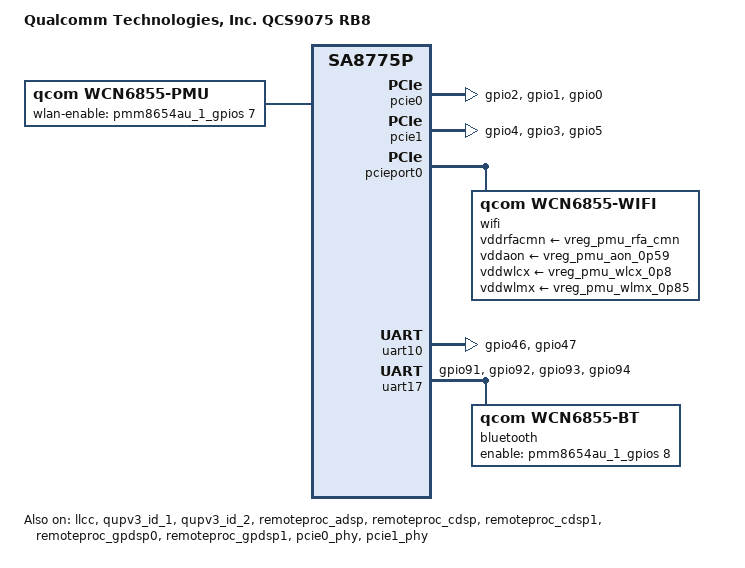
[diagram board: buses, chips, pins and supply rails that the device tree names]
// SPDX-License-Identifier: BSD-3-Clause
/*
 * Copyright (c) 2024, Qualcomm Innovation Center, Inc. All rights reserved.
 */
/dts-v1/;

#include <dt-bindings/gpio/gpio.h>
#include <dt-bindings/regulator/qcom,rpmh-regulator.h>

#include "sa8775p.dtsi"
#include "sa8775p-pmics.dtsi"
#include "qcs9075-thermal.dtsi"

/ {
	model = "Qualcomm Technologies, Inc. QCS9075 RB8";
	compatible = "qcom,qcs9075-rb8", "qcom,qcs9075", "qcom,sa8775p";
	qcom,msm-id = <676 0x20000>;
	qcom,board-id = <0x10020 0>, <0x10019 0>;

	aliases {
		serial0 = &uart10;
		serial1 = &uart17;
	};

	chosen {
		stdout-path = "serial0:115200n8";
	};

	wcn6855-pmu {
		compatible = "qcom,wcn6855-pmu";

		pinctrl-names = "default";
		pinctrl-0 = <&wlan_en_state>;
		wlan-enable-gpios = <&pmm8654au_1_gpios 7 GPIO_ACTIVE_HIGH>;

		regulators {
			vreg_pmu_rfa_cmn: ldo0 {
				regulator-name = "vreg_pmu_rfa_cmn";
			};

			vreg_pmu_aon_0p59: ldo1 {
				regulator-name = "vreg_pmu_aon_0p59";
			};

			vreg_pmu_wlcx_0p8: ldo2 {
				regulator-name = "vreg_pmu_wlcx_0p8";
			};

			vreg_pmu_wlmx_0p85: ldo3 {
				regulator-name = "vreg_pmu_wlmx_0p85";
			};

			vreg_pmu_btcmx_0p85: ldo4 {
				regulator-name = "vreg_pmu_btcmx_0p85";
			};

			vreg_pmu_rfa_0p8: ldo5 {
				regulator-name = "vreg_pmu_rfa_0p8";
			};

			vreg_pmu_rfa_1p2: ldo6 {
				regulator-name = "vreg_pmu_rfa_1p2";
			};

			vreg_pmu_rfa_1p7: ldo7 {
				regulator-name = "vreg_pmu_rfa_1p7";
			};

			vreg_pmu_pcie_0p9: ldo8 {
				regulator-name = "vreg_pmu_pcie_0p9";
			};

			vreg_pmu_pcie_1p8: ldo9 {
				regulator-name = "vreg_pmu_pcie_1p8";
			};
		};
	};
};

&apps_rsc {
	regulators-0 {
		compatible = "qcom,pmm8654au-rpmh-regulators";
		qcom,pmic-id = "a";

		vreg_s4a: smps4 {
			regulator-name = "vreg_s4a";
			regulator-min-microvolt = <1800000>;
			regulator-max-microvolt = <1816000>;
			regulator-initial-mode = <RPMH_REGULATOR_MODE_HPM>;
		};

		vreg_s5a: smps5 {
			regulator-name = "vreg_s5a";
			regulator-min-microvolt = <1850000>;
			regulator-max-microvolt = <1996000>;
			regulator-initial-mode = <RPMH_REGULATOR_MODE_HPM>;
		};

		vreg_s9a: smps9 {
			regulator-name = "vreg_s9a";
			regulator-min-microvolt = <535000>;
			regulator-max-microvolt = <1120000>;
			regulator-initial-mode = <RPMH_REGULATOR_MODE_HPM>;
		};

		vreg_l4a: ldo4 {
			regulator-name = "vreg_l4a";
			regulator-min-microvolt = <788000>;
			regulator-max-microvolt = <1050000>;
			regulator-initial-mode = <RPMH_REGULATOR_MODE_HPM>;
			regulator-allow-set-load;
			regulator-allowed-modes = <RPMH_REGULATOR_MODE_LPM
						   RPMH_REGULATOR_MODE_HPM>;
		};

		vreg_l5a: ldo5 {
			regulator-name = "vreg_l5a";
			regulator-min-microvolt = <870000>;
			regulator-max-microvolt = <950000>;
			regulator-initial-mode = <RPMH_REGULATOR_MODE_HPM>;
			regulator-allow-set-load;
			regulator-allowed-modes = <RPMH_REGULATOR_MODE_LPM
						   RPMH_REGULATOR_MODE_HPM>;
		};

		vreg_l6a: ldo6 {
			regulator-name = "vreg_l6a";
			regulator-min-microvolt = <870000>;
			regulator-max-microvolt = <970000>;
			regulator-initial-mode = <RPMH_REGULATOR_MODE_HPM>;
			regulator-allow-set-load;
			regulator-allowed-modes = <RPMH_REGULATOR_MODE_LPM
						   RPMH_REGULATOR_MODE_HPM>;
		};

		vreg_l7a: ldo7 {
			regulator-name = "vreg_l7a";
			regulator-min-microvolt = <720000>;
			regulator-max-microvolt = <950000>;
			regulator-initial-mode = <RPMH_REGULATOR_MODE_HPM>;
			regulator-allow-set-load;
			regulator-allowed-modes = <RPMH_REGULATOR_MODE_LPM
						   RPMH_REGULATOR_MODE_HPM>;
		};

		vreg_l8a: ldo8 {
			regulator-name = "vreg_l8a";
			regulator-min-microvolt = <2504000>;
			regulator-max-microvolt = <3300000>;
			regulator-initial-mode = <RPMH_REGULATOR_MODE_HPM>;
			regulator-allow-set-load;
			regulator-allowed-modes = <RPMH_REGULATOR_MODE_LPM
						   RPMH_REGULATOR_MODE_HPM>;
		};

		vreg_l9a: ldo9 {
			regulator-name = "vreg_l9a";
			regulator-min-microvolt = <2970000>;
			regulator-max-microvolt = <3544000>;
			regulator-initial-mode = <RPMH_REGULATOR_MODE_HPM>;
			regulator-allow-set-load;
			regulator-allowed-modes = <RPMH_REGULATOR_MODE_LPM
						   RPMH_REGULATOR_MODE_HPM>;
		};
	};

	regulators-1 {
		compatible = "qcom,pmm8654au-rpmh-regulators";
		qcom,pmic-id = "c";

		vreg_l1c: ldo1 {
			regulator-name = "vreg_l1c";
			regulator-min-microvolt = <1140000>;
			regulator-max-microvolt = <1260000>;
			regulator-initial-mode = <RPMH_REGULATOR_MODE_HPM>;
			regulator-allow-set-load;
			regulator-allowed-modes = <RPMH_REGULATOR_MODE_LPM
						   RPMH_REGULATOR_MODE_HPM>;
		};

		vreg_l2c: ldo2 {
			regulator-name = "vreg_l2c";
			regulator-min-microvolt = <900000>;
			regulator-max-microvolt = <1100000>;
			regulator-initial-mode = <RPMH_REGULATOR_MODE_HPM>;
			regulator-allow-set-load;
			regulator-allowed-modes = <RPMH_REGULATOR_MODE_LPM
						   RPMH_REGULATOR_MODE_HPM>;
		};

		vreg_l3c: ldo3 {
			regulator-name = "vreg_l3c";
			regulator-min-microvolt = <1100000>;
			regulator-max-microvolt = <1300000>;
			regulator-initial-mode = <RPMH_REGULATOR_MODE_HPM>;
			regulator-allow-set-load;
			regulator-allowed-modes = <RPMH_REGULATOR_MODE_LPM
						   RPMH_REGULATOR_MODE_HPM>;
		};

		vreg_l4c: ldo4 {
			regulator-name = "vreg_l4c";
			regulator-min-microvolt = <1200000>;
			regulator-max-microvolt = <1200000>;
			regulator-initial-mode = <RPMH_REGULATOR_MODE_HPM>;
			/*
			 * FIXME: This should have regulator-allow-set-load but
			 * we're getting an over-current fault from the PMIC
			 * when switching to LPM.
			 */
		};

		vreg_l5c: ldo5 {
			regulator-name = "vreg_l5c";
			regulator-min-microvolt = <1100000>;
			regulator-max-microvolt = <1300000>;
			regulator-initial-mode = <RPMH_REGULATOR_MODE_HPM>;
			regulator-allow-set-load;
			regulator-allowed-modes = <RPMH_REGULATOR_MODE_LPM
						   RPMH_REGULATOR_MODE_HPM>;
		};

		vreg_l6c: ldo6 {
			regulator-name = "vreg_l6c";
			regulator-min-microvolt = <1620000>;
			regulator-max-microvolt = <1980000>;
			regulator-initial-mode = <RPMH_REGULATOR_MODE_HPM>;
			regulator-allow-set-load;
			regulator-allowed-modes = <RPMH_REGULATOR_MODE_LPM
						   RPMH_REGULATOR_MODE_HPM>;
		};

		vreg_l7c: ldo7 {
			regulator-name = "vreg_l7c";
			regulator-min-microvolt = <1620000>;
			regulator-max-microvolt = <2000000>;
			regulator-initial-mode = <RPMH_REGULATOR_MODE_HPM>;
			regulator-allow-set-load;
			regulator-allowed-modes = <RPMH_REGULATOR_MODE_LPM
						   RPMH_REGULATOR_MODE_HPM>;
		};

		vreg_l8c: ldo8 {
			regulator-name = "vreg_l8c";
			regulator-min-microvolt = <2400000>;
			regulator-max-microvolt = <3300000>;
			regulator-initial-mode = <RPMH_REGULATOR_MODE_HPM>;
			regulator-allow-set-load;
			regulator-allowed-modes = <RPMH_REGULATOR_MODE_LPM
						   RPMH_REGULATOR_MODE_HPM>;
		};

		vreg_l9c: ldo9 {
			regulator-name = "vreg_l9c";
			regulator-min-microvolt = <1650000>;
			regulator-max-microvolt = <2700000>;
			regulator-initial-mode = <RPMH_REGULATOR_MODE_HPM>;
			regulator-allow-set-load;
			regulator-allowed-modes = <RPMH_REGULATOR_MODE_LPM
						   RPMH_REGULATOR_MODE_HPM>;
		};
	};

	regulators-2 {
		compatible = "qcom,pmm8654au-rpmh-regulators";
		qcom,pmic-id = "e";

		vreg_s4e: smps4 {
			regulator-name = "vreg_s4e";
			regulator-min-microvolt = <970000>;
			regulator-max-microvolt = <1520000>;
			regulator-initial-mode = <RPMH_REGULATOR_MODE_HPM>;
		};

		vreg_s7e: smps7 {
			regulator-name = "vreg_s7e";
			regulator-min-microvolt = <1010000>;
			regulator-max-microvolt = <1170000>;
			regulator-initial-mode = <RPMH_REGULATOR_MODE_HPM>;
		};

		vreg_s9e: smps9 {
			regulator-name = "vreg_s9e";
			regulator-min-microvolt = <300000>;
			regulator-max-microvolt = <570000>;
			regulator-initial-mode = <RPMH_REGULATOR_MODE_HPM>;
		};

		vreg_l6e: ldo6 {
			regulator-name = "vreg_l6e";
			regulator-min-microvolt = <1280000>;
			regulator-max-microvolt = <1450000>;
			regulator-initial-mode = <RPMH_REGULATOR_MODE_HPM>;
			regulator-allow-set-load;
			regulator-allowed-modes = <RPMH_REGULATOR_MODE_LPM
						   RPMH_REGULATOR_MODE_HPM>;
		};

		vreg_l8e: ldo8 {
			regulator-name = "vreg_l8e";
			regulator-min-microvolt = <1800000>;
			regulator-max-microvolt = <1950000>;
			regulator-initial-mode = <RPMH_REGULATOR_MODE_HPM>;
			regulator-allow-set-load;
			regulator-allowed-modes = <RPMH_REGULATOR_MODE_LPM
						   RPMH_REGULATOR_MODE_HPM>;
		};
	};
};

&i2c0 {
	qcom,load-firmware;
	qcom,xfer-mode = <1>;
};

&i2c1 {
	qcom,load-firmware;
	qcom,xfer-mode = <1>;
};

&i2c2 {
	qcom,load-firmware;
	qcom,xfer-mode = <1>;
};

&i2c3 {
	qcom,load-firmware;
	qcom,xfer-mode = <1>;
};

&i2c4 {
	qcom,load-firmware;
	qcom,xfer-mode = <1>;
};

&i2c5 {
	qcom,load-firmware;
	qcom,xfer-mode = <1>;
};

&i2c7 {
	qcom,load-firmware;
	qcom,xfer-mode = <1>;
};

&i2c8 {
	qcom,load-firmware;
	qcom,xfer-mode = <1>;
};

&i2c9 {
	qcom,load-firmware;
	qcom,xfer-mode = <1>;
};

&i2c10 {
	qcom,load-firmware;
	qcom,xfer-mode = <1>;
};

&i2c11 {
	qcom,load-firmware;
	qcom,xfer-mode = <1>;
};

&i2c12 {
	qcom,load-firmware;
	qcom,xfer-mode = <1>;
};

&i2c13 {
	qcom,load-firmware;
	qcom,xfer-mode = <1>;
};

&i2c14 {
	qcom,load-firmware;
	qcom,xfer-mode = <1>;
};

&i2c15 {
	qcom,load-firmware;
	qcom,xfer-mode = <1>;
};

&i2c16 {
	qcom,load-firmware;
	qcom,xfer-mode = <1>;
};

&i2c17 {
	qcom,load-firmware;
	qcom,xfer-mode = <1>;
};

&i2c18 {
	qcom,load-firmware;
	qcom,xfer-mode = <1>;
};

&i2c19 {
	qcom,load-firmware;
	qcom,xfer-mode = <1>;
};

&llcc {
	status = "okay";
};

&pmm8654au_1_gpios {
	gpio-line-names = "PMIC_C_ID0",
			  "PMIC_C_ID1",
			  "UFS1_VER_ID",
			  "IPA_PWR",
			  "",
			  "WLAN_DBU4_EN",
			  "WLAN_EN",
			  "BT_EN",
			  "USB2_PWR_EN",
			  "USB2_FAULT";

	bt_en_state: bt-en-state {
		pins = "gpio8";
		function = "normal";
		output-low;
		bias-pull-down;
	};

	wlan_en_state: wlan-en-state {
		pins = "gpio7";
		function = "normal";
		output-low;
		bias-pull-down;
	};
};

&qupv3_id_1 {
	status = "okay";
};

&qupv3_id_2 {
	status = "okay";
};

&remoteproc_adsp {
	firmware-name = "qcom/sa8775p/adsp.mbn";
	status = "okay";
};

&remoteproc_cdsp {
	firmware-name = "qcom/sa8775p/cdsp0.mbn";
	status = "okay";
};

&remoteproc_cdsp1 {
	firmware-name = "qcom/sa8775p/cdsp1.mbn";
	status = "okay";
};

&remoteproc_gpdsp0 {
	firmware-name = "qcom/sa8775p/gpdsp0.mbn";
	status = "okay";
};

&remoteproc_gpdsp1 {
	firmware-name = "qcom/sa8775p/gpdsp1.mbn";
	status = "okay";
};

&sleep_clk {
	clock-frequency = <32768>;
};

&spi0 {
	qcom,load-firmware;
	qcom,xfer-mode = <1>;
};

&spi1 {
	qcom,load-firmware;
	qcom,xfer-mode = <1>;
};

&spi2 {
	qcom,load-firmware;
	qcom,xfer-mode = <1>;
};

&spi3 {
	qcom,load-firmware;
	qcom,xfer-mode = <1>;
};

&spi4 {
	qcom,load-firmware;
	qcom,xfer-mode = <1>;
};

&spi5 {
	qcom,load-firmware;
	qcom,xfer-mode = <1>;
};

&spi7 {
	qcom,load-firmware;
	qcom,xfer-mode = <1>;
};

&spi8 {
	qcom,load-firmware;
	qcom,xfer-mode = <1>;
};

&spi9 {
	qcom,load-firmware;
	qcom,xfer-mode = <1>;
};

&spi10 {
	qcom,load-firmware;
	qcom,xfer-mode = <1>;
};

&spi11 {
	qcom,load-firmware;
	qcom,xfer-mode = <1>;
};

&spi12 {
	qcom,load-firmware;
	qcom,xfer-mode = <1>;
};

&spi14 {
	qcom,load-firmware;
	qcom,xfer-mode = <1>;
};

&spi15 {
	qcom,load-firmware;
	qcom,xfer-mode = <1>;
};

&spi16 {
	qcom,load-firmware;
	qcom,xfer-mode = <1>;
};

&spi17 {
	qcom,load-firmware;
	qcom,xfer-mode = <1>;
};

&spi18 {
	qcom,load-firmware;
	qcom,xfer-mode = <1>;
};

&spi19 {
	qcom,load-firmware;
	qcom,xfer-mode = <1>;
};

&tlmm {
	bt_bootstrap_default: bt_bootstrap_default {
		pins = "gpio147";
		function = "gpio";
		input-enable;
		bias-pull-up;
		drive-strength = <2>;
	};

	/* FIXME: mdss0_dp0 is dependent on this so adding a dummy node for now */
	dp_hot_plug_det: dp-hot-plug-det-state {};

	/* FIXME: mdss0_dp1 is dependent on this so adding a dummy node for now */
	dp1_hot_plug_det: dp1-hot-plug-det-state {};

	qup_uart10_default: qup-uart10-state {
		pins = "gpio46", "gpio47";
		function = "qup1_se3";
	};

	qup_uart17_default: qup-uart17-state {
		qup_uart17_cts: qup-uart17-cts-pins {
			pins = "gpio91";
			function = "qup2_se3";
			bias-disable;
		};

		qup_uart17_rts: qup0-uart17-rts-pins {
			pins = "gpio92";
			function = "qup2_se3";
			bias-pull-down;
		};

		qup_uart17_tx: qup0-uart17-tx-pins {
			pins = "gpio93";
			function = "qup2_se3";
			bias-pull-up;
		};

		qup_uart17_rx: qup0-uart17-rx-pins {
			pins = "gpio94";
			function = "qup2_se3";
			bias-pull-down;
		};
	};

	pcie0_default_state: pcie0-default-state {
		perst-pins {
			pins = "gpio2";
			function = "gpio";
			drive-strength = <2>;
			bias-pull-down;
		};

		clkreq-pins {
			pins = "gpio1";
			function = "pcie0_clkreq";
			drive-strength = <2>;
			bias-pull-up;
		};

		wake-pins {
			pins = "gpio0";
			function = "gpio";
			drive-strength = <2>;
			bias-pull-up;
		};
	};

	pcie1_default_state: pcie1-default-state {
		perst-pins {
			pins = "gpio4";
			function = "gpio";
			drive-strength = <2>;
			bias-pull-down;
		};

		clkreq-pins {
			pins = "gpio3";
			function = "pcie1_clkreq";
			drive-strength = <2>;
			bias-pull-up;
		};

		wake-pins {
			pins = "gpio5";
			function = "gpio";
			drive-strength = <2>;
			bias-pull-up;
		};
	};
};

&pcie0 {
	perst-gpios = <&tlmm 2 GPIO_ACTIVE_LOW>;
	wake-gpios = <&tlmm 0 GPIO_ACTIVE_HIGH>;

	pinctrl-names = "default";
	pinctrl-0 = <&pcie0_default_state>;

	status = "okay";
};

&pcie1 {
	perst-gpios = <&tlmm 4 GPIO_ACTIVE_LOW>;
	wake-gpios = <&tlmm 5 GPIO_ACTIVE_HIGH>;

	pinctrl-names = "default";
	pinctrl-0 = <&pcie1_default_state>;

	status = "okay";
};

&pcie0_phy {
	vdda-phy-supply = <&vreg_l5a>;
	vdda-pll-supply = <&vreg_l1c>;

	status = "okay";
};

&pcie1_phy {
	vdda-phy-supply = <&vreg_l5a>;
	vdda-pll-supply = <&vreg_l1c>;

	status = "okay";
};

&pcieport0 {
	wifi@0 {
		compatible = "qcom,wcn6855-wifi";
		reg = <0x10000 0x0 0x0 0x0 0x0>;

		vddrfacmn-supply = <&vreg_pmu_rfa_cmn>;
		vddaon-supply = <&vreg_pmu_aon_0p59>;
		vddwlcx-supply = <&vreg_pmu_wlcx_0p8>;
		vddwlmx-supply = <&vreg_pmu_wlmx_0p85>;
		vddrfa0p8-supply = <&vreg_pmu_rfa_0p8>;
		vddrfa1p2-supply = <&vreg_pmu_rfa_1p2>;
		vddrfa1p7-supply = <&vreg_pmu_rfa_1p7>;
		vddpcie0p9-supply = <&vreg_pmu_pcie_0p9>;
		vddpcie1p8-supply = <&vreg_pmu_pcie_1p8>;
	};
};

&uart0 {
	qcom,load-firmware;
	qcom,xfer-mode = <1>;
};

&uart1 {
	qcom,load-firmware;
	qcom,xfer-mode = <1>;
};

&uart2 {
	qcom,load-firmware;
	qcom,xfer-mode = <1>;
};

&uart3 {
	qcom,load-firmware;
	qcom,xfer-mode = <1>;
};

&uart4 {
	qcom,load-firmware;
	qcom,xfer-mode = <1>;
};

&uart5 {
	qcom,load-firmware;
	qcom,xfer-mode = <1>;
};

&uart7 {
	qcom,load-firmware;
	qcom,xfer-mode = <1>;
};

&uart8 {
	qcom,load-firmware;
	qcom,xfer-mode = <1>;
};

&uart9 {
	qcom,load-firmware;
	qcom,xfer-mode = <1>;
};

&uart10 {
	compatible = "qcom,geni-debug-uart";
	pinctrl-0 = <&qup_uart10_default>;
	pinctrl-names = "default";
	status = "okay";
};

&uart11 {
	qcom,load-firmware;
	qcom,xfer-mode = <1>;
};

&uart12 {
	qcom,load-firmware;
	qcom,xfer-mode = <1>;
};

&uart14 {
	qcom,load-firmware;
	qcom,xfer-mode = <1>;
};

&uart15 {
	qcom,load-firmware;
	qcom,xfer-mode = <1>;
};

&uart16 {
	qcom,load-firmware;
	qcom,xfer-mode = <1>;
};

&uart17 {
	pinctrl-0 = <&qup_uart17_default>;
	pinctrl-names = "default";
	qcom,load-firmware;
	qcom,xfer-mode = <1>;
	status = "okay";

	/* HS UART Instance */
	bluetooth: bluetooth {
		compatible = "qcom,wcn6855-bt";
		pinctrl-names = "default";
		pinctrl-0 = <&bt_en_state>, <&bt_bootstrap_default>;
		enable-gpios = <&pmm8654au_1_gpios 8 GPIO_ACTIVE_HIGH>; /* BT_EN */
		max-speed = <3200000>;
	};
};

&uart18 {
	qcom,load-firmware;
	qcom,xfer-mode = <1>;
};

&uart19 {
	qcom,load-firmware;
	qcom,xfer-mode = <1>;
};

&xo_board_clk {
	clock-frequency = <38400000>;
};
